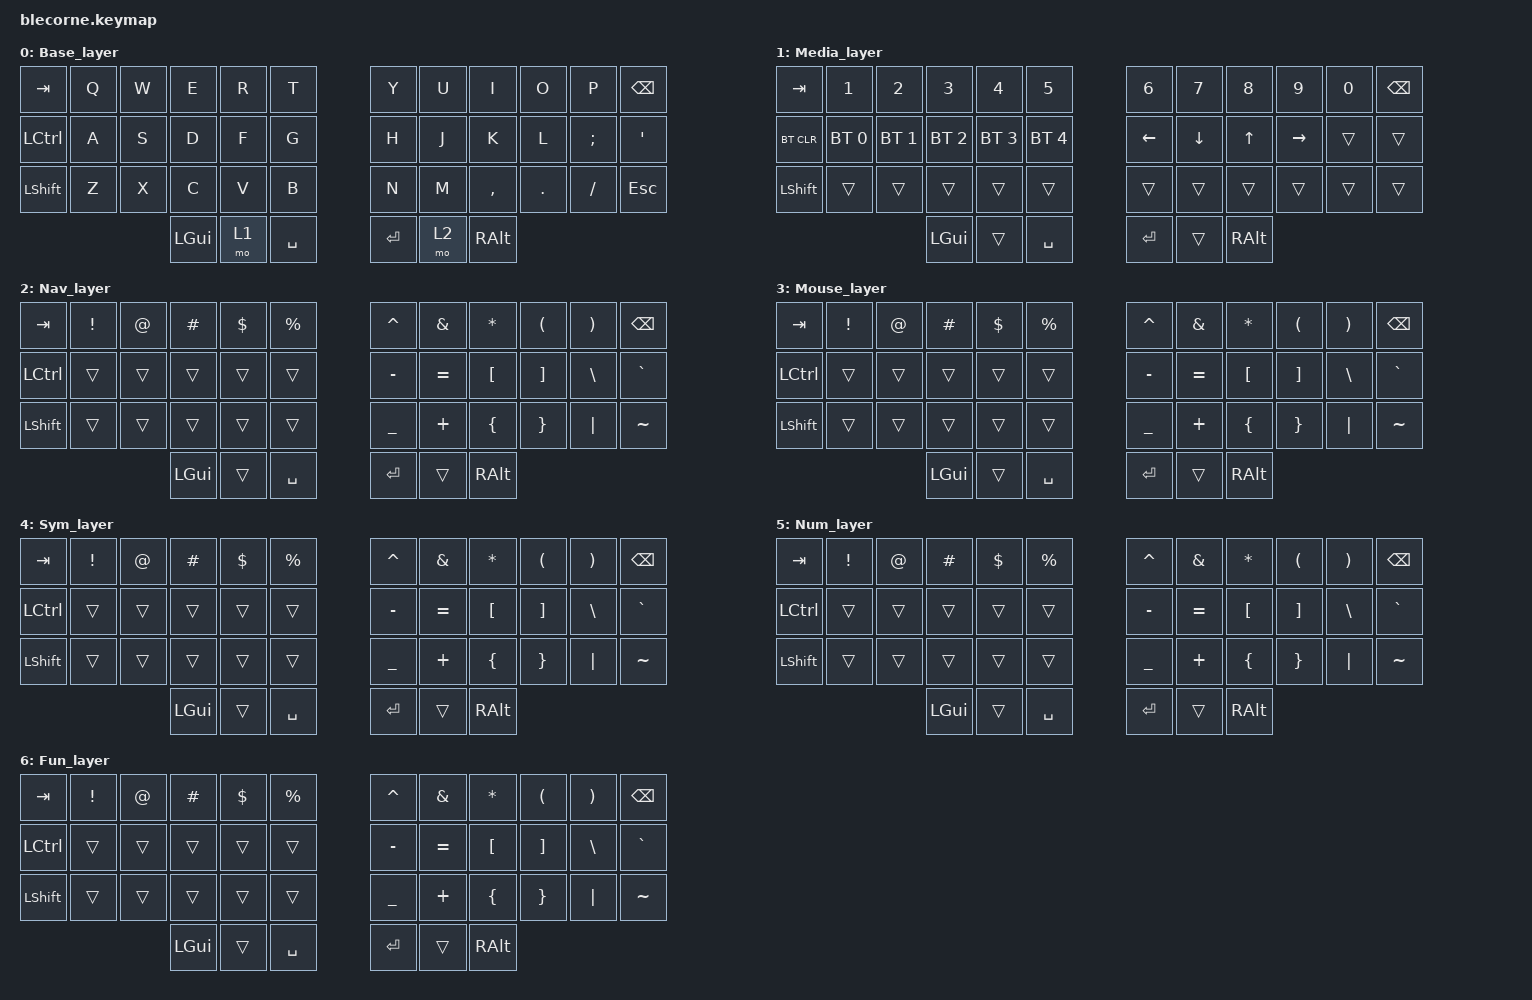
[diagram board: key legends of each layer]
/*
 * Copyright (c) 2020 The ZMK Contributors
 * SPDX-License-Identifier: MIT
 */

#include <behaviors.dtsi>
#include <dt-bindings/zmk/keys.h>
#include <dt-bindings/zmk/bt.h>

/ {
    chosen {
       // zmk,physical-layout = &foostan_corne_6col_layout;
         zmk,physical-layout = &foostan_corne_5col_layout;
    };
};

/ {
    keymap {
        compatible = "zmk,keymap";

        Base_layer {
            bindings = <
                &kp TAB   &kp Q &kp W &kp E &kp R &kp T   &kp Y &kp U  &kp I     &kp O   &kp P    &kp BSPC
                &kp LCTRL &kp A &kp S &kp D &kp F &kp G   &kp H &kp J  &kp K     &kp L   &kp SEMI &kp SQT
                &kp LSHFT &kp Z &kp X &kp C &kp V &kp B   &kp N &kp M  &kp COMMA &kp DOT &kp FSLH &kp ESC
                              &kp LGUI &mo 1 &kp SPACE   &kp RET &mo 2 &kp RALT
            >;
        };
        Media_layer {
            bindings = <
                &kp TAB    &kp N1       &kp N2       &kp N3       &kp N4       &kp N5         &kp N6   &kp N7   &kp N8 &kp N9    &kp N0 &kp BSPC
                &bt BT_CLR &bt BT_SEL 0 &bt BT_SEL 1 &bt BT_SEL 2 &bt BT_SEL 3 &bt BT_SEL 4   &kp LEFT &kp DOWN &kp UP &kp RIGHT &trans &trans
                &kp LSHFT  &trans       &trans       &trans       &trans       &trans         &trans   &trans   &trans &trans    &trans &trans
                                                &kp LGUI     &trans       &kp SPACE      &kp RET  &trans   &kp RALT
            >;
        };
        Nav_layer {
            bindings = <
                &kp  TAB  &kp EXCL &kp AT &kp HASH &kp DLLR &kp PRCNT   &kp CARET &kp AMPS  &kp ASTRK &kp LPAR &kp RPAR &kp BSPC
                &kp LCTRL &trans   &trans &trans   &trans   &trans      &kp MINUS &kp EQUAL &kp LBKT  &kp RBKT &kp BSLH &kp GRAVE
                &kp LSHFT &trans   &trans &trans   &trans   &trans      &kp UNDER &kp PLUS  &kp LBRC  &kp RBRC &kp PIPE &kp TILDE
                                         &kp LGUI &trans   &kp SPACE   &kp RET   &trans    &kp RALT
            >;
        };
        Mouse_layer {
            bindings = <
                &kp  TAB  &kp EXCL &kp AT &kp HASH &kp DLLR &kp PRCNT   &kp CARET &kp AMPS  &kp ASTRK &kp LPAR &kp RPAR &kp BSPC
                &kp LCTRL &trans   &trans &trans   &trans   &trans      &kp MINUS &kp EQUAL &kp LBKT  &kp RBKT &kp BSLH &kp GRAVE
                &kp LSHFT &trans   &trans &trans   &trans   &trans      &kp UNDER &kp PLUS  &kp LBRC  &kp RBRC &kp PIPE &kp TILDE
                                         &kp LGUI &trans   &kp SPACE   &kp RET   &trans    &kp RALT
            >;
        };
        Sym_layer {
            bindings = <
                &kp  TAB  &kp EXCL &kp AT &kp HASH &kp DLLR &kp PRCNT   &kp CARET &kp AMPS  &kp ASTRK &kp LPAR &kp RPAR &kp BSPC
                &kp LCTRL &trans   &trans &trans   &trans   &trans      &kp MINUS &kp EQUAL &kp LBKT  &kp RBKT &kp BSLH &kp GRAVE
                &kp LSHFT &trans   &trans &trans   &trans   &trans      &kp UNDER &kp PLUS  &kp LBRC  &kp RBRC &kp PIPE &kp TILDE
                                         &kp LGUI &trans   &kp SPACE   &kp RET   &trans    &kp RALT
            >;
        };
        Num_layer {
            bindings = <
                &kp  TAB  &kp EXCL &kp AT &kp HASH &kp DLLR &kp PRCNT   &kp CARET &kp AMPS  &kp ASTRK &kp LPAR &kp RPAR &kp BSPC
                &kp LCTRL &trans   &trans &trans   &trans   &trans      &kp MINUS &kp EQUAL &kp LBKT  &kp RBKT &kp BSLH &kp GRAVE
                &kp LSHFT &trans   &trans &trans   &trans   &trans      &kp UNDER &kp PLUS  &kp LBRC  &kp RBRC &kp PIPE &kp TILDE
                                         &kp LGUI &trans   &kp SPACE   &kp RET   &trans    &kp RALT
            >;
        };
        Fun_layer {
            bindings = <
                &kp  TAB  &kp EXCL &kp AT &kp HASH &kp DLLR &kp PRCNT   &kp CARET &kp AMPS  &kp ASTRK &kp LPAR &kp RPAR &kp BSPC
                &kp LCTRL &trans   &trans &trans   &trans   &trans      &kp MINUS &kp EQUAL &kp LBKT  &kp RBKT &kp BSLH &kp GRAVE
                &kp LSHFT &trans   &trans &trans   &trans   &trans      &kp UNDER &kp PLUS  &kp LBRC  &kp RBRC &kp PIPE &kp TILDE
                                         &kp LGUI &trans   &kp SPACE   &kp RET   &trans    &kp RALT
            >;
        };
    };
};
